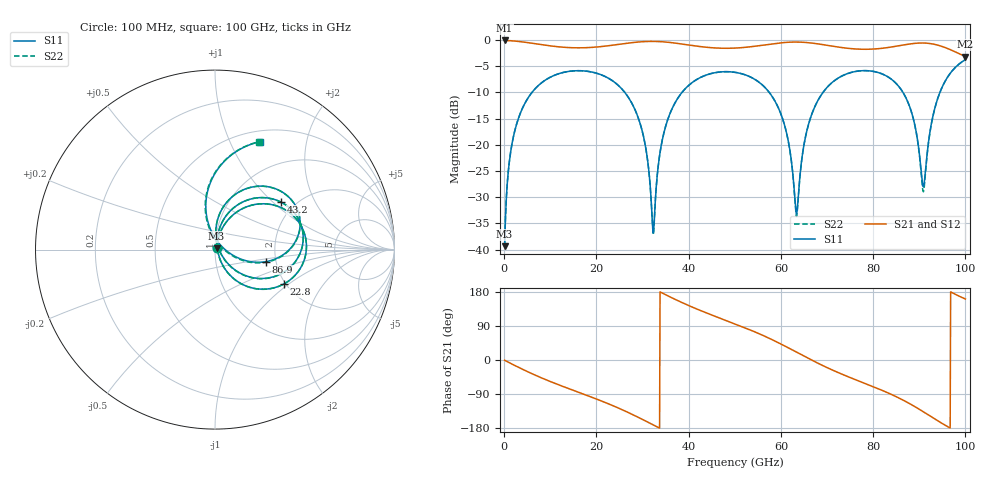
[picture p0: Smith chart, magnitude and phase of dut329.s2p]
! Touchstone file exported from HFSS 2026.1.0
!  File:  C:/ffzhzh/LocalFiles/Ansys_Project_Files/temp_train_TSV_RDL_329_1783703674_45164.aedt
!  Generated:  01:22:55 AM Jul 11, 2026
!  Design:  TSV_RDL
!  Project:  temp_train_TSV_RDL_329_1783703674_45164
! Variables:
!  h_bsmrdl = 4.31um
!  h_ox = 20um
!  h_rdl = 5um
!  h_sub = 99.7um
!  h_tmrdl = 2.23um
!  h_tsv = 99.7um
!  h_via = 3um
!  l_bsmrdl = 145.28um
!  l_sub = 1502.44um
!  l_tmrdl = 129.81um
!  m_sub = 200um
!  pitch = 56.32um
!  r_tsv = 6.1um
!  s_tmrdl = 10um
!  w_bsmrdl = 29.43um
!  w_sub = 500um
!  w_tmrdl = 19.69um
!  x_tsv_center1 = 139.655um
!  x_tsv_center2 = 314.365um
!  x_tsv_center3 = 463.865um
!  x_tsv_center4 = 638.575um
!  x_tsv_center5 = 788.075um
!  x_tsv_center6 = 962.785um
# GHz S MA R 50.000000
! Terminal data exported
! Port[1] = TM_RDL1_1_T1
! Port[2] = TM_RDL5_1_T1
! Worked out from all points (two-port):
!   1000 points, 100 MHz to 100 GHz, reference 50 ohm
!   highest |S21| = -0.08 dB at 100 MHz (marker M1); lowest = -3.1 dB at 100 GHz (marker M2)
!   |S21| within 3 dB of the highest: start of sweep to 99.82 GHz
!   lowest |S11| = -39.3 dB at 100 MHz (marker M3), VSWR 1.02, Z = 50.9 + j0.641 ohm
!   |S11| at or under -10 dB: 26.16 GHz to 38.55 GHz (12.39 GHz wide, 38.3 % of centre); 57.48 GHz to 69.12 GHz (11.64 GHz wide, 18.4 % of centre); 86.48 GHz to 94.47 GHz (7.993 GHz wide, 8.84 % of centre) (the widest 3 of 4)
!   |S22| runs from -39.3 to -3.7 dB; largest |S21 - S12| = 1.4e-12
!   S11 on the Smith chart (normalised r, x): 100 MHz: 1.02, +0.01; 22.8 GHz: 1.95, -0.92; 43.2 GHz: 1.69, +1.13; 86.9 GHz: 1.77, -0.26; 100 GHz: 0.62, +1.30
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0.1  0.01079 35.7  0.9913 -0.7  0.9913 -0.7  0.01079 35.7
! Gamma 0 0 0 0
! Port Impedance 50 0 50 0
1.5  0.09076 73.4  0.9847 -9.5  0.9847 -9.5  0.09076 73.4
4.2  0.2348 60.7  0.9575 -25.7  0.9575 -25.7  0.2348 60.7
16.8  0.5093 0.6  0.8435 -88.2  0.8435 -88.2  0.5093 0.6
22.8  0.4275 -26.7  0.8847 -116.5  0.8847 -116.5  0.4276 -26.8
29.3  0.1691 -59.2  0.9598 -152.6  0.9598 -152.6  0.1691 -59.5
30.9  0.08245 -63.7  0.9691 -162.4  0.9691 -162.4  0.08241 -64.1
32.3  0.0144 1.4  0.9709 -171.1  0.9709 -171.1  0.01388 0.9
33.4  0.06267 77.9  0.9681 -177.9  0.9681 -177.9  0.06251 78.3
36.6  0.2306 68.6  0.9412 162.7  0.9412 162.7  0.2306 68.6
43.2  0.4527 35.8  0.8596 127.4  0.8596 127.4  0.4527 35.7
50.1  0.4918 4.8  0.8387 95.0  0.8387 95.0  0.4918 4.6
59.3  0.233 -39.5  0.9337 46.5  0.9337 46.5  0.233 -39.9
61.5  0.1145 -47.2  0.9524 32.9  0.9524 32.9  0.1144 -47.9
63.4  0.0219 22.8  0.957 20.7  0.957 20.7  0.02075 22.6
66.7  0.1964 83.0  0.9362 -0.4  0.9362 -0.4  0.1962 83.1
73.4  0.458 49.9  0.8456 -38.3  0.8456 -38.3  0.458 49.8
83.4  0.4401 4.0  0.8509 -87.8  0.8509 -87.8  0.44 3.6
86.9  0.2931 -13.2  0.903 -108.4  0.903 -108.4  0.2928 -13.9
90.9  0.0398 44.1  0.9372 -136.7  0.9372 -136.7  0.03564 44.0
94.1  0.2858 99.9  0.8922 -161.2  0.8922 -161.2  0.2851 100.6
100  0.6499 67.5  0.6959 161.0  0.6959 161.0  0.6496 67.7
